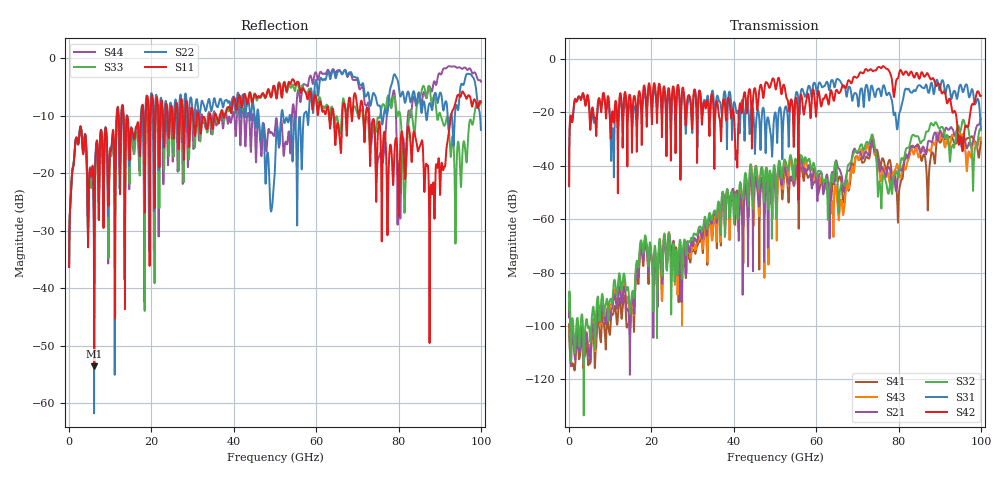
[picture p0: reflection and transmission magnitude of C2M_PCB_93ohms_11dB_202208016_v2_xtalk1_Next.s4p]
! Info: Touchstone file created by Circ.  Input file=Intel_C2M_200G_2p0in_202208016_staggered.circ
# Hz S RI R 50
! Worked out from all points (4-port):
!   10000 points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, 10 MHz to 100 GHz, reference 50 ohm
!   strongest paths, dB at 10 MHz, 25.01 GHz, 50.01 GHz, 75.01 GHz, 100 GHz:
!     S42: -47.5, -13.1, -10.1, -3.1, -13.8
!     S31: -47.7, -15.9, -20.1, -11.2, -26.1
!     S32: -94.0, -80.2, -41.7, -51.6, -26.7
!     S21: -96.5, -72.6, -45.9, -37.9, -22.3
!     S43: -96.0, -77.7, -42.0, -41.5, -29.9
!     S41: -99.3, -71.7, -46.0, -35.4, -30.9
!   lowest |S11| = -53.5 dB at 6.12 GHz (marker M1), VSWR 1.00, Z = 50.2 - j0.0981 ohm
!   |S11| at or under -10 dB: start of sweep to 11.6 GHz; 13.24 GHz to 17.55 GHz (4.309 GHz wide, 28 % of centre); 72.75 GHz to 92.78 GHz (20.03 GHz wide, 24.2 % of centre)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
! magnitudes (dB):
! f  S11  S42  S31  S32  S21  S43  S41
! 10 MHz  -36.3  -47.5  -47.7  -94.0  -96.5  -96.0  -99.3
! 6.12 GHz  -53.5  -22.0  -23.9  -97.1  -103.4  -100.6  -108.0
! 40.62 GHz  -9.0  -34.7  -20.0  -51.1  -49.8  -50.1  -50.1
! 47.95 GHz  -6.4  -8.7  -25.2  -41.3  -46.6  -40.6  -45.3
! 76.38 GHz  -13.4  -2.7  -9.8  -43.5  -41.7  -40.3  -37.8
! 95.2 GHz  -6.5  -29.6  -10.0  -26.0  -32.2  -28.5  -30.6
! 100 GHz  -7.7  -13.8  -26.1  -26.7  -22.3  -29.9  -30.9
